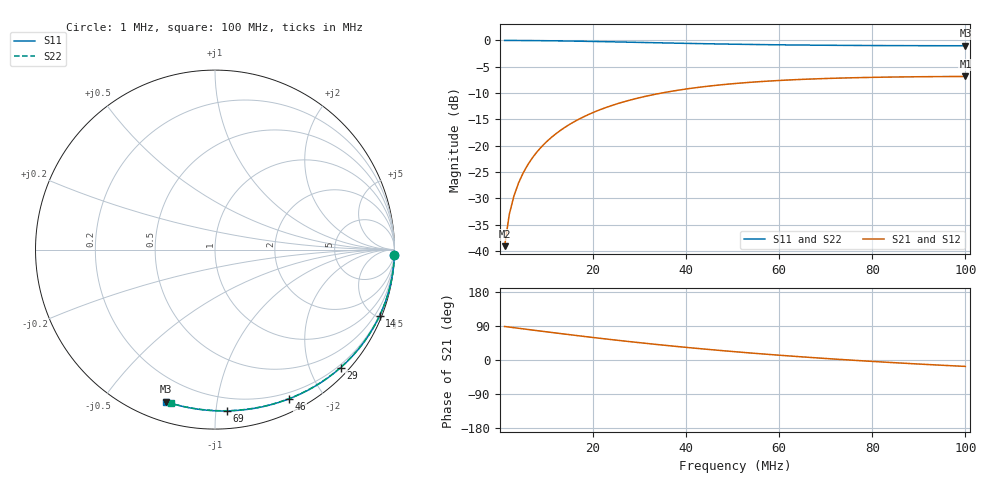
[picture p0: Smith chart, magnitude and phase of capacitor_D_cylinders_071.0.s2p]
!Created with skrf (http://scikit-rf.org).
# MHz S RI R 50.0
!freq ReS11 ImS11 ReS21 ImS21 ReS12 ImS12 ReS22 ImS22
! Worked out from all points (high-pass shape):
!   100 points, 1 MHz to 100 MHz, reference 50 ohm
!   highest |S21| = -6.84 dB at 100 MHz (marker M1); lowest = -39.1 dB at 1 MHz (marker M2)
!   |S21| within 3 dB of the highest: 35.66 MHz to end of sweep
!   lowest |S11| = -1.0 dB at 100 MHz (marker M3), VSWR 17.28, Z = 4.41 - j36.1 ohm
!   |S11| at or under -10 dB: nowhere
!   |S22| runs from -1.0 to 0.0 dB; largest |S21 - S12| = 2.2e-15
!   S11 on the Smith chart (normalised r, x): 1 MHz: 0, -72; 14 MHz: 0.16, -5.18; 29 MHz: 0.15, -2.52; 46 MHz: 0.13, -1.60; 69 MHz: 0.11, -1.07; 100 MHz: 0.09, -0.72
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1  0.9996 -0.0276  0.000305 0.0111  0.000305 0.0111  0.9996 -0.0274
! Port Impedance 50.00000000000000 0.00000000000000 50.00000000000000 0.00000000000000
2  0.9982 -0.0553  0.00122 0.0222  0.00122 0.0222  0.9983 -0.0547
3  0.996 -0.0828  0.00274 0.0332  0.00274 0.0332  0.9961 -0.0819
4  0.9929 -0.1101  0.00486 0.044  0.00486 0.044  0.9931 -0.109
5  0.989 -0.1374  0.00756 0.0548  0.00756 0.0548  0.9892 -0.1359
6  0.9842 -0.1643  0.0108 0.0653  0.0108 0.0653  0.9845 -0.1626
7  0.9785 -0.1911  0.0147 0.0756  0.0147 0.0756  0.9789 -0.1891
9  0.9649 -0.2436  0.024 0.0955  0.024 0.0955  0.9655 -0.2411
11  0.9481 -0.2946  0.0353 0.1141  0.0353 0.1141  0.9491 -0.2916
14  0.9177 -0.3679  0.0555 0.1393  0.0555 0.1393  0.9192 -0.3641
18  0.8686 -0.4583  0.0875 0.1669  0.0875 0.1669  0.871 -0.4537
23  0.7965 -0.5582  0.1328 0.1908  0.1328 0.1908  0.8003 -0.5528
29  0.6996 -0.6579  0.1902 0.204  0.1902 0.204  0.7052 -0.6518
34  0.6144 -0.7246  0.237 0.203  0.237 0.203  0.6217 -0.7184
40  0.5111 -0.787  0.2888 0.19  0.2888 0.19  0.5205 -0.7807
46  0.4097 -0.8325  0.3335 0.167  0.3335 0.167  0.4213 -0.8267
51  0.3282 -0.8597  0.3646 0.1425  0.3646 0.1425  0.3417 -0.8544
59  0.2053 -0.8867  0.4027 0.0972  0.4027 0.0972  0.2218 -0.8827
67  0.0924 -0.8979  0.4276 0.0487  0.4276 0.0487  0.1119 -0.8957
69  0.0657 -0.8988  0.432 0.0365  0.432 0.0365  0.086 -0.897
84  -0.1152 -0.8861  0.446 -0.0514  0.446 -0.0514  -0.0892 -0.8891
100  -0.2754 -0.8469  0.4351 -0.1324  0.4351 -0.1324  -0.2432 -0.8567
